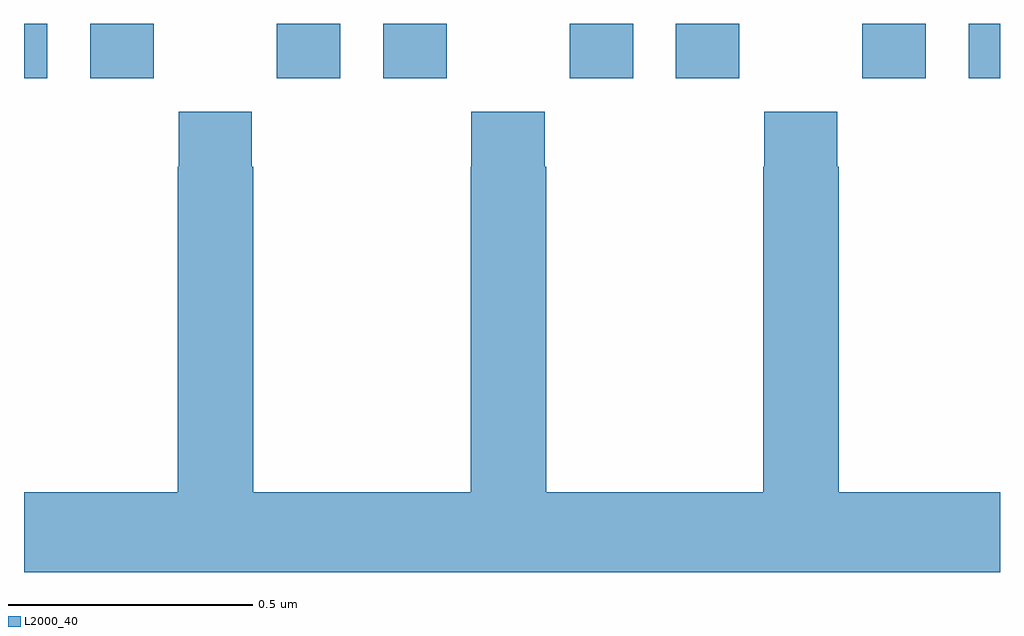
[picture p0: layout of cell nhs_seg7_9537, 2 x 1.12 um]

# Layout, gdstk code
import gdstk
lib = gdstk.Library(unit=1e-6, precision=1e-09)
def R(c, l, rs):  # rectangles x0, y0, x1, y1
    for r in rs: c.add(gdstk.rectangle(r[:2], r[2:], *l))
def P(c, l, *ps):  # polygons
    for p in ps: c.add(gdstk.Polygon(p, *l))
L2000_40 = (2000, 40)

nhs_seg7_9537 = lib.new_cell('nhs_seg7_9537')
R(nhs_seg7_9537, L2000_40, [(238,1074.888,238.048,1075), (238.136,1074.888,238.266,1075), (238.518,1074.888,238.648,1075), (238.736,1074.888,238.866,1075), (239.118,1074.888,239.248,1075), (239.336,1074.888,239.466,1075), (239.718,1074.888,239.848,1075), (239.936,1074.888,240,1075)])
P(nhs_seg7_9537, L2000_40, [(240,1074.04),(239.67,1074.04),(239.67,1074.707),(239.667,1074.707),(239.667,1074.82),(239.517,1074.82),(239.517,1074.707),(239.515,1074.707),(239.515,1074.04),(239.07,1074.04),(239.07,1074.707),(239.067,1074.707),(239.067,1074.82),(238.917,1074.82),(238.917,1074.707),(238.915,1074.707),(238.915,1074.04),(238.47,1074.04),(238.47,1074.707),(238.467,1074.707),(238.467,1074.82),(238.317,1074.82),(238.317,1074.707),(238.315,1074.707),(238.315,1074.04),(238,1074.04),(238,1073.876),(240,1073.876)])

lib.write_gds('nhs_seg7_9537.gds')
